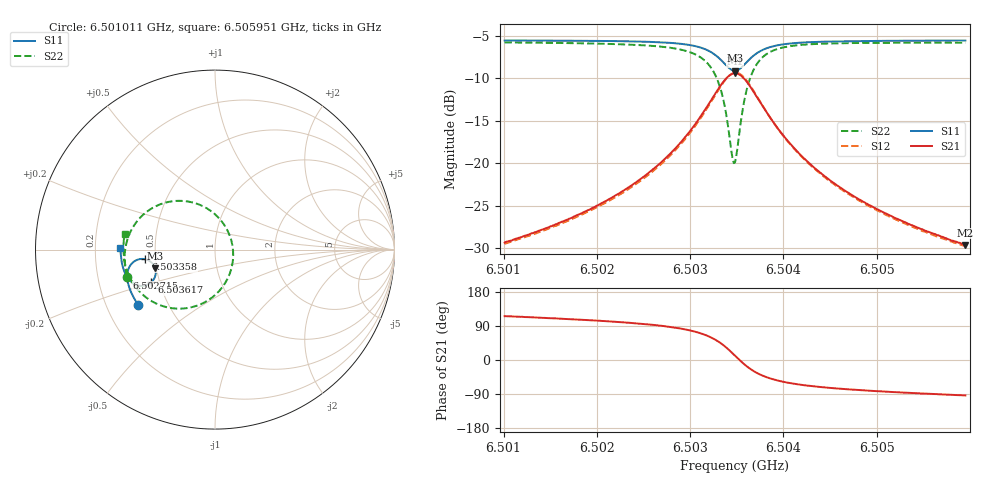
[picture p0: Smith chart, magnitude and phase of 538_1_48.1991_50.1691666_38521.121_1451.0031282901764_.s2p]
#  HZ  S  RI  R  50.00
! Rohde & Schwarz Vector Network Analyzer
! Rohde-Schwarz,ZNB20-2Port,1311601062101988,3.16
! Created: UTC 3/20/2024, 12:00:09 PM
! freq[Hz]  re:S11  im:S11  re:S21  im:S21  re:S12  im:S12  re:S22  im:S22
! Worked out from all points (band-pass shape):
!   401 points, 6.501011 GHz to 6.505951 GHz, reference 50 ohm
!   highest |S21| = -9.44 dB at 6.503481 GHz (marker M1); lowest = -29.6 dB at 6.505951 GHz (marker M2)
!   |S21| within 3 dB of the highest: 6.503235 GHz to 6.503728 GHz (493.4 kHz wide, 0.00759 % of centre)
!   lowest |S11| = -9.1 dB at 6.503481 GHz (marker M3), VSWR 2.07, Z = 24.5 - j5.84 ohm
!   |S11| at or under -10 dB: nowhere
!   |S22| runs from -20.0 to -5.8 dB; largest |S21 - S12| = 0.011
!   S11 on the Smith chart (normalised r, x): 6.501011 GHz: 0.34, -0.29; 6.502715 GHz: 0.33, -0.14; 6.503358 GHz: 0.44, -0.06; 6.503617 GHz: 0.45, -0.19; 6.505951 GHz: 0.31, +0.01
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6.5010115e9  -0.4287 -0.3066  -0.0147 0.0306  -0.0131 0.0308  -0.4909 -0.1501
6.5018388e9  -0.4641 -0.245  -0.0141 0.0487  -0.0118 0.0482  -0.5034 -0.0613
6.5022833e9  -0.4795 -0.2052  -0.0111 0.0679  -0.00834 0.0666  -0.5001 0.00248
6.5026661e9  -0.4884 -0.1624  -0.00192 0.0984  0.0017 0.0962  -0.4795 0.0802
6.5027155e9  -0.4889 -0.1559  0.000703 0.1041  0.00429 0.1016  -0.4741 0.0928
6.5029501e9  -0.4856 -0.119  0.0234 0.1408  0.0269 0.1368  -0.4269 0.1669
6.5031106e9  -0.4711 -0.0868  0.0624 0.1768  0.065 0.1712  -0.351 0.2303
6.5032588e9  -0.4337 -0.057  0.1436 0.2057  0.1441 0.1998  -0.203 0.2717
6.5033575e9  -0.3873 -0.0539  0.2347 0.1895  0.2348 0.1853  -0.0453 0.2298
6.503444e9  -0.3444 -0.0826  0.3131 0.1155  0.3156 0.1119  0.0797 0.0842
6.5034687e9  -0.3363 -0.0968  0.3265 0.0837  0.33 0.0795  0.0969 0.0244
6.503481e9  -0.3335 -0.1045  0.3308 0.0668  0.3346 0.062  0.1007 -0.00697
6.5035057e9  -0.3304 -0.1207  0.3344 0.0323  0.3385 0.0263  0.0986 -0.0702
6.5035428e9  -0.3324 -0.1447  0.3273 -0.0177  0.331 -0.0261  0.0718 -0.1589
6.5036169e9  -0.3545 -0.182  0.2809 -0.0942  0.2812 -0.1051  -0.0375 -0.282
6.503728e9  -0.4001 -0.2021  0.194 -0.1394  0.1892 -0.1491  -0.2132 -0.3287
6.5038885e9  -0.4472 -0.1925  0.1105 -0.1358  0.1037 -0.1409  -0.3639 -0.2804
6.5040614e9  -0.4752 -0.1712  0.065 -0.1149  0.059 -0.1173  -0.4375 -0.214
6.5043083e9  -0.4962 -0.1412  0.0345 -0.0899  0.0299 -0.0904  -0.4813 -0.1408
6.5046541e9  -0.5111 -0.1045  0.0158 -0.0672  0.0127 -0.0669  -0.5034 -0.0696
6.5051356e9  -0.5214 -0.0595  0.00515 -0.049  0.00287 -0.0483  -0.5106 0.000299
6.5059506e9  -0.5265 0.00985  -0.00213 -0.0329  -0.00332 -0.0322  -0.503 0.0876
